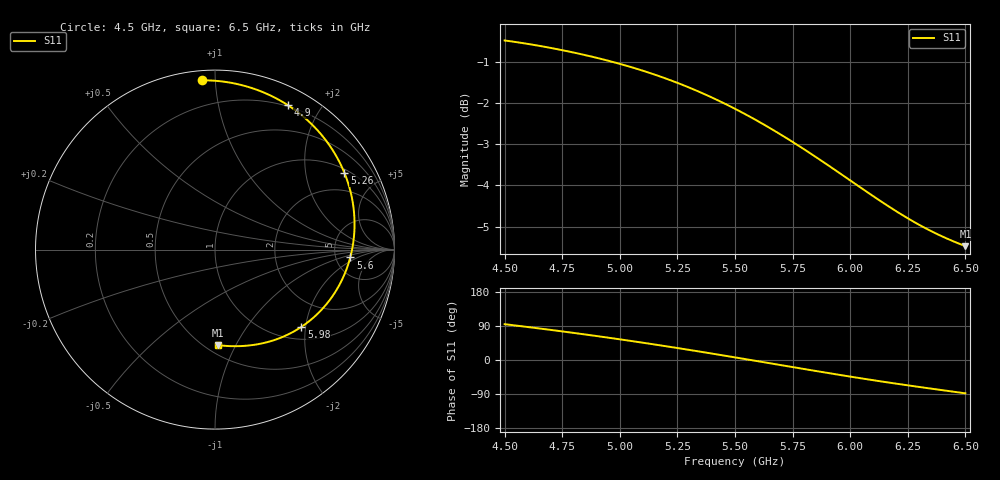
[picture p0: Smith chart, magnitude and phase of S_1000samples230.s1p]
! TOUCHSTONE file generated by CST MICROWAVE STUDIO
! Date and time: Thu Oct 27 11:08:24 2022
! Project name: L.cst
! Parameters = {Di=1.27; Epsilon_r=1.56; InnerDiameter=1.27; Length=2; Lf=10; Lg=60; OuterConductorThickness=0.2921; OuterDiameter=3.6; Wf=3; Wp=41.2; de=1.5; df=6.8; g=0.8; gx=1.98646; gy=4.72204; h=2.34; hf=1.524; px=10.9304; py=12.5756; w=9.7; wx=8.94392; wy=7.85352}
! Header version: 2018
! Port assignment regex: !\s*Touchstone port\s*([0-9]+)\s*=\s*(CST MWS port|CST DS port)\s*([0-9]+|Zmin|Zmax)\s*\(\"(.*)\"\)(\s*mode\s*([0-9]+))?.*
! Touchstone port assignment:
! Touchstone port 1 = CST MWS port 1 ("")
# GHz S DB R 50
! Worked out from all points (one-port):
!   101 points, 4.5 GHz to 6.5 GHz, reference 50 ohm
!   lowest |S11| = -5.5 dB at 6.5 GHz (marker M1), VSWR 3.28, Z = 28.7 - j42.7 ohm
!   |S11| at or under -10 dB: nowhere
!   S11 on the Smith chart (normalised r, x): 4.5 GHz: 0.05, +0.92; 4.9 GHz: 0.19, +1.61; 5.26 GHz: 1.14, +3.28; 5.6 GHz: 6.87, -1.39; 5.98 GHz: 1.28, -1.89; 6.5 GHz: 0.57, -0.85
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4.5  -0.48 94.5
4.58  -0.55 88.6
4.64  -0.60 84.1
4.76  -0.73 74.7
4.84  -0.83 68.2
4.9  -0.90 63.2
5  -1.05 54.5
5.06  -1.15 49.2
5.14  -1.29 41.9
5.2  -1.41 36.3
5.26  -1.53 30.6
5.32  -1.67 24.8
5.38  -1.82 18.9
5.44  -1.97 12.9
5.5  -2.14 6.9
5.6  -2.44 -3.3
5.68  -2.70 -11.5
5.76  -2.98 -19.7
5.82  -3.20 -25.8
5.88  -3.42 -31.9
5.98  -3.80 -41.8
6  -3.88 -43.8
6.06  -4.11 -49.6
6.12  -4.34 -55.2
6.18  -4.56 -60.7
6.26  -4.83 -67.7
6.38  -5.19 -77.9
6.5  -5.47 -88.0
